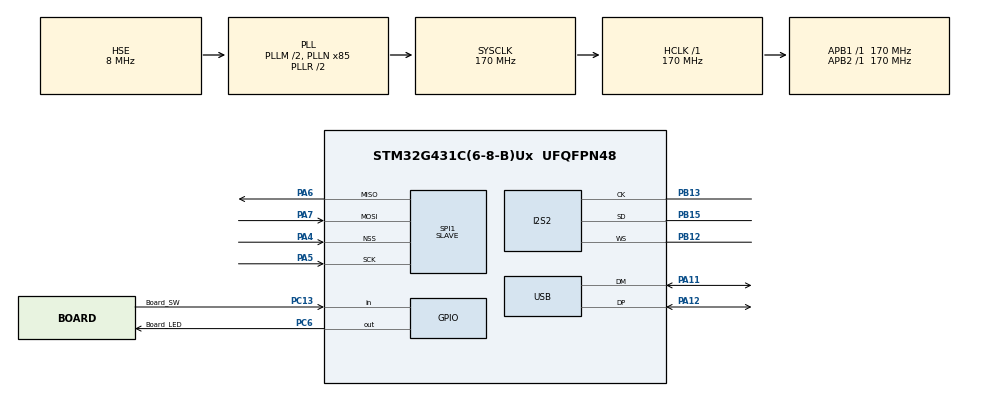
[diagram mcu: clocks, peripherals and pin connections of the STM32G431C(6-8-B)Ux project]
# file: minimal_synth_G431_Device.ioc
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Dma.Request0=SPI2_TX
Dma.Request1=SPI1_RX
Dma.SPI1_RX.1.Direction=DMA_PERIPH_TO_MEMORY
Dma.SPI1_RX.1.EventEnable=DISABLE
Dma.SPI1_RX.1.Instance=DMA1_Channel2
Dma.SPI1_RX.1.MemDataAlignment=DMA_MDATAALIGN_BYTE
Dma.SPI1_RX.1.MemInc=DMA_MINC_ENABLE
Dma.SPI1_RX.1.Mode=DMA_NORMAL
Dma.SPI1_RX.1.PeriphDataAlignment=DMA_PDATAALIGN_BYTE
Dma.SPI1_RX.1.PeriphInc=DMA_PINC_DISABLE
Dma.SPI1_RX.1.Polarity=HAL_DMAMUX_REQ_GEN_RISING
Dma.SPI1_RX.1.Priority=DMA_PRIORITY_HIGH
Dma.SPI1_RX.1.RequestNumber=1
Dma.SPI1_RX.1.SignalID=NONE
Dma.SPI1_RX.1.SyncEnable=DISABLE
Dma.SPI1_RX.1.SyncPolarity=HAL_DMAMUX_SYNC_NO_EVENT
Dma.SPI1_RX.1.SyncRequestNumber=1
Dma.SPI1_RX.1.SyncSignalID=NONE
Dma.SPI2_TX.0.Direction=DMA_MEMORY_TO_PERIPH
Dma.SPI2_TX.0.EventEnable=DISABLE
Dma.SPI2_TX.0.Instance=DMA1_Channel1
Dma.SPI2_TX.0.MemDataAlignment=DMA_MDATAALIGN_HALFWORD
Dma.SPI2_TX.0.MemInc=DMA_MINC_ENABLE
Dma.SPI2_TX.0.Mode=DMA_CIRCULAR
Dma.SPI2_TX.0.PeriphDataAlignment=DMA_PDATAALIGN_HALFWORD
Dma.SPI2_TX.0.PeriphInc=DMA_PINC_DISABLE
Dma.SPI2_TX.0.Polarity=HAL_DMAMUX_REQ_GEN_RISING
Dma.SPI2_TX.0.Priority=DMA_PRIORITY_LOW
Dma.SPI2_TX.0.RequestNumber=1
Dma.SPI2_TX.0.SignalID=NONE
Dma.SPI2_TX.0.SyncEnable=DISABLE
Dma.SPI2_TX.0.SyncPolarity=HAL_DMAMUX_SYNC_NO_EVENT
Dma.SPI2_TX.0.SyncRequestNumber=1
Dma.SPI2_TX.0.SyncSignalID=NONE
I2S2.AudioFreq=I2S_AUDIOFREQ_32K
I2S2.ErrorAudioFreq=0.0 %
I2S2.FullDuplexMode=I2S_FULLDUPLEXMODE_DISABLE
I2S2.Instance=SPI$Index
I2S2.RealAudioFreq=32.003 KHz
I2S2.Standard=I2S_STANDARD_MSB
I2S2.VirtualMode=I2S_MODE_MASTER
Mcu.Family=STM32G4
Mcu.Name=STM32G431C(6-8-B)Ux
Mcu.Package=UFQFPN48
NVIC.DMA1_Channel1_IRQn=true\:2\:0\:true\:false\:true\:false\:true\:true
NVIC.DMA1_Channel2_IRQn=true\:1\:0\:true\:false\:true\:false\:true\:true
NVIC.PriorityGroup=NVIC_PRIORITYGROUP_4
NVIC.USB_LP_IRQn=true\:2\:0\:true\:false\:true\:false\:true\:true
PA11.Mode=Device
PA11.Signal=USB_DM
PA12.Mode=Device
PA12.Signal=USB_DP
PA4.Mode=NSS_Signal_Hard_Input
PA4.Signal=SPI1_NSS
PA5.Mode=Full_Duplex_Slave
PA5.Signal=SPI1_SCK
PA6.Mode=Full_Duplex_Slave
PA6.Signal=SPI1_MISO
PA7.Mode=Full_Duplex_Slave
PA7.Signal=SPI1_MOSI
PB12.Mode=Half_Duplex_Master
PB12.Signal=I2S2_WS
PB13.Mode=Half_Duplex_Master
PB13.Signal=I2S2_CK
PB15.Mode=Half_Duplex_Master
PB15.Signal=I2S2_SD
PC13.GPIO_Label=Board_SW
PC13.GPIO_PuPd=GPIO_PULLDOWN
PC13.Signal=GPIO_Input
PC6.GPIO_Label=Board_LED
PC6.Signal=GPIO_Output
PF0-OSC_IN.Mode=HSE-External-Oscillator
PF0-OSC_IN.Signal=RCC_OSC_IN
PF1-OSC_OUT.Mode=HSE-External-Oscillator
PF1-OSC_OUT.Signal=RCC_OSC_OUT
ProjectManager.HeapSize=0x200
ProjectManager.StackSize=0x400
ProjectManager.TargetToolchain=STM32CubeIDE
RCC.ADC12Freq_Value=170000000
RCC.AHBFreq_Value=170000000
RCC.APB1Freq_Value=170000000
RCC.APB1TimFreq_Value=170000000
RCC.APB2Freq_Value=170000000
RCC.APB2TimFreq_Value=170000000
RCC.CK48CLockSelection=RCC_USBCLKSOURCE_HSI48
RCC.CortexFreq_Value=170000000
RCC.EXTERNAL_CLOCK_VALUE=12288000
RCC.HCLKFreq_Value=170000000
RCC.HSE_VALUE=8000000
RCC.HSI48_VALUE=48000000
RCC.HSI_VALUE=16000000
RCC.LSE_VALUE=32768
RCC.PLLM=RCC_PLLM_DIV2
RCC.PLLN=85
RCC.PLLSourceVirtual=RCC_PLLSOURCE_HSE
RCC.PREFETCH_ENABLE=1
RCC.SYSCLKFreq_VALUE=170000000
RCC.SYSCLKSource=RCC_SYSCLKSOURCE_PLLCLK
RCC.USBFreq_Value=48000000
RCC.VCOOutputFreq_Value=340000000
SPI1.DataSize=SPI_DATASIZE_8BIT
SPI1.Direction=SPI_DIRECTION_2LINES
SPI1.Mode=SPI_MODE_SLAVE
SPI1.VirtualNSS=VM_NSSHARD
SPI1.VirtualType=VM_SLAVE
USB_DEVICE.CLASS_NAME_FS=AUDIO
USB_DEVICE.PRODUCT_STRING_AUDIO_FS=STM32MIDIDevice
USB_DEVICE.VirtualMode=Audio
USB_DEVICE.VirtualModeFS=Audio_FS
VP_CORDIC_VS_CORDIC.Mode=CORDIC_Activate
VP_RNG_VS_RNG.Mode=RNG_Activate
VP_SYS_VS_DBSignals.Mode=DisableDeadBatterySignals
VP_USB_DEVICE_VS_USB_DEVICE_AUDIO_FS.Mode=AUDIO_FS
board=custom

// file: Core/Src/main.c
/* USER CODE BEGIN Header */
/**
 ******************************************************************************
 * @file           : main.c
 * @brief          : Main program body
 ******************************************************************************
 * @attention
 *
 * Copyright (c) 2024 STMicroelectronics.
 * All rights reserved.
 *
 * This software is licensed under terms that can be found in the LICENSE file
 * in the root directory of this software component.
 * If no LICENSE file comes with this software, it is provided AS-IS.
 *
 ******************************************************************************
 */
/* USER CODE END Header */
#include "main.h"
#include "usb_device.h"

/* USER CODE BEGIN Includes */

#include <stm32_synth.h>
#include <usbd_midi_if.h>
/* USER CODE END Includes */

CORDIC_HandleTypeDef hcordic;

I2S_HandleTypeDef hi2s2;
DMA_HandleTypeDef hdma_spi2_tx;

RNG_HandleTypeDef hrng;

SPI_HandleTypeDef hspi1;
DMA_HandleTypeDef hdma_spi1_rx;

/* USER CODE BEGIN PV */

uint8_t spi_controler_rx[4];
/* USER CODE END PV */

void SystemClock_Config(void);
static void MX_GPIO_Init(void);
static void MX_DMA_Init(void);
static void MX_I2S2_Init(void);
static void MX_SPI1_Init(void);
static void MX_RNG_Init(void);
static void MX_CORDIC_Init(void);

/* USER CODE BEGIN 0 */

// HAL interrupt
void HAL_I2S_TxCpltCallback(I2S_HandleTypeDef *hi2s)
// void HAL_DAC_ConvCpltCallbackCh1(DAC_HandleTypeDef *hdac)
{
  // HAL_GPIO_WritePin(Board_LED_GPIO_Port, Board_LED_Pin, GPIO_PIN_RESET);
  stm32synth_dacDmaCmplt_hundle();
  // HAL_GPIO_WritePin(Board_LED_GPIO_Port, Board_LED_Pin, GPIO_PIN_SET);
}
void HAL_I2S_TxHalfCpltCallback(I2S_HandleTypeDef *hi2s)
// void HAL_DAC_ConvHalfCpltCallbackCh1(DAC_HandleTypeDef *hdac)
{
  // HAL_GPIO_WritePin(Board_LED_GPIO_Port, Board_LED_Pin, GPIO_PIN_RESET);
  stm32synth_dacDmaHalfCmplt_hundle();
  // HAL_GPIO_WritePin(Board_LED_GPIO_Port, Board_LED_Pin, GPIO_PIN_SET);
}

void HAL_SPI_RxCpltCallback(SPI_HandleTypeDef *hspi)
{
  if (hspi == &hspi1)
  {
    spi_controler_rx[0] += 0x10; // increment cable number
    stm32synth_midi_writebuff(spi_controler_rx);
    HAL_SPI_Receive_DMA(&hspi1, spi_controler_rx, 4);
  }
}
/* USER CODE END 0 */

int main(void)
{

  /* MCU Configuration--------------------------------------------------------*/

  /* Reset of all peripherals, Initializes the Flash interface and the Systick. */
  HAL_Init();

  /* Configure the system clock */
  SystemClock_Config();

  /* Initialize all configured peripherals */
  MX_GPIO_Init();
  MX_DMA_Init();
  MX_USB_Device_Init();
  MX_I2S2_Init();
  MX_SPI1_Init();
  MX_RNG_Init();
  MX_CORDIC_Init();

  /* Infinite loop */
  /* USER CODE BEGIN WHILE */

  // Opening delay
  HAL_Delay(100);

  // init Synth
  uint16_t audio_dac[STM32SYNTH_NUM_I2SBUFF] = {0};

  stm32synth_init(
      audio_dac
#ifdef STM32SYNTH_SIN_CORDIC
      ,
      &hcordic
#endif /* STM32SYNTH_SIN_CORDIC*/
  );

  // init channel program
  for (uint8_t c = 0; c < 16; c++)
  {
    if (c != 9)
    {
      stm32synth_program(c, 0);
    }
  }

  // Start Peripherals
  HAL_SPI_Receive_DMA(&hspi1, spi_controler_rx, 4);                // MIDI input spi
  HAL_I2S_Transmit_DMA(&hi2s2, audio_dac, STM32SYNTH_NUM_I2SBUFF); // I2S transmit

  // Ready
  HAL_GPIO_WritePin(Board_LED_GPIO_Port, Board_LED_Pin, GPIO_PIN_SET);

  while (1)
  {
    /* USER CODE END WHILE */

    /* USER CODE BEGIN 3 */
    // processMidiMessage();
    stm32synth_midi_buff2input();
  }
  /* USER CODE END 3 */
}

void SystemClock_Config(void)
{
  RCC_OscInitTypeDef RCC_OscInitStruct = {0};
  RCC_ClkInitTypeDef RCC_ClkInitStruct = {0};

  /** Configure the main internal regulator output voltage
   */
  HAL_PWREx_ControlVoltageScaling(PWR_REGULATOR_VOLTAGE_SCALE1_BOOST);

  /** Initializes the RCC Oscillators according to the specified parameters
   * in the RCC_OscInitTypeDef structure.
   */
  RCC_OscInitStruct.OscillatorType = RCC_OSCILLATORTYPE_HSI48 | RCC_OSCILLATORTYPE_HSE;
  RCC_OscInitStruct.HSEState = RCC_HSE_ON;
  RCC_OscInitStruct.HSI48State = RCC_HSI48_ON;
  RCC_OscInitStruct.PLL.PLLState = RCC_PLL_ON;
  RCC_OscInitStruct.PLL.PLLSource = RCC_PLLSOURCE_HSE;
  RCC_OscInitStruct.PLL.PLLM = RCC_PLLM_DIV2;
  RCC_OscInitStruct.PLL.PLLN = 85;
  RCC_OscInitStruct.PLL.PLLP = RCC_PLLP_DIV2;
  RCC_OscInitStruct.PLL.PLLQ = RCC_PLLQ_DIV2;
  RCC_OscInitStruct.PLL.PLLR = RCC_PLLR_DIV2;
  if (HAL_RCC_OscConfig(&RCC_OscInitStruct) != HAL_OK)
  {
    Error_Handler();
  }

  /** Initializes the CPU, AHB and APB buses clocks
   */
  RCC_ClkInitStruct.ClockType = RCC_CLOCKTYPE_HCLK | RCC_CLOCKTYPE_SYSCLK | RCC_CLOCKTYPE_PCLK1 | RCC_CLOCKTYPE_PCLK2;
  RCC_ClkInitStruct.SYSCLKSource = RCC_SYSCLKSOURCE_PLLCLK;
  RCC_ClkInitStruct.AHBCLKDivider = RCC_SYSCLK_DIV1;
  RCC_ClkInitStruct.APB1CLKDivider = RCC_HCLK_DIV1;
  RCC_ClkInitStruct.APB2CLKDivider = RCC_HCLK_DIV1;

  if (HAL_RCC_ClockConfig(&RCC_ClkInitStruct, FLASH_LATENCY_4) != HAL_OK)
  {
    Error_Handler();
  }
}

static void MX_CORDIC_Init(void)
{

  hcordic.Instance = CORDIC;
  if (HAL_CORDIC_Init(&hcordic) != HAL_OK)
  {
    Error_Handler();
  }
}

static void MX_I2S2_Init(void)
{

  hi2s2.Instance = SPI2;
  hi2s2.Init.Mode = I2S_MODE_MASTER_TX;
  hi2s2.Init.Standard = I2S_STANDARD_MSB;
  hi2s2.Init.DataFormat = I2S_DATAFORMAT_16B;
  hi2s2.Init.MCLKOutput = I2S_MCLKOUTPUT_DISABLE;
  hi2s2.Init.AudioFreq = I2S_AUDIOFREQ_32K;
  hi2s2.Init.CPOL = I2S_CPOL_LOW;
  if (HAL_I2S_Init(&hi2s2) != HAL_OK)
  {
    Error_Handler();
  }
}

static void MX_RNG_Init(void)
{

  hrng.Instance = RNG;
  hrng.Init.ClockErrorDetection = RNG_CED_ENABLE;
  if (HAL_RNG_Init(&hrng) != HAL_OK)
  {
    Error_Handler();
  }
}

static void MX_SPI1_Init(void)
{

  /* SPI1 parameter configuration*/
  hspi1.Instance = SPI1;
  hspi1.Init.Mode = SPI_MODE_SLAVE;
  hspi1.Init.Direction = SPI_DIRECTION_2LINES;
  hspi1.Init.DataSize = SPI_DATASIZE_8BIT;
  hspi1.Init.CLKPolarity = SPI_POLARITY_LOW;
  hspi1.Init.CLKPhase = SPI_PHASE_1EDGE;
  hspi1.Init.NSS = SPI_NSS_HARD_INPUT;
  hspi1.Init.FirstBit = SPI_FIRSTBIT_MSB;
  hspi1.Init.TIMode = SPI_TIMODE_DISABLE;
  hspi1.Init.CRCCalculation = SPI_CRCCALCULATION_DISABLE;
  hspi1.Init.CRCPolynomial = 7;
  hspi1.Init.CRCLength = SPI_CRC_LENGTH_DATASIZE;
  hspi1.Init.NSSPMode = SPI_NSS_PULSE_DISABLE;
  if (HAL_SPI_Init(&hspi1) != HAL_OK)
  {
    Error_Handler();
  }
}

static void MX_DMA_Init(void)
{

  /* DMA controller clock enable */
  __HAL_RCC_DMAMUX1_CLK_ENABLE();
  __HAL_RCC_DMA1_CLK_ENABLE();

  /* DMA interrupt init */
  /* DMA1_Channel1_IRQn interrupt configuration */
  HAL_NVIC_SetPriority(DMA1_Channel1_IRQn, 2, 0);
  HAL_NVIC_EnableIRQ(DMA1_Channel1_IRQn);
  /* DMA1_Channel2_IRQn interrupt configuration */
  HAL_NVIC_SetPriority(DMA1_Channel2_IRQn, 1, 0);
  HAL_NVIC_EnableIRQ(DMA1_Channel2_IRQn);
}

static void MX_GPIO_Init(void)
{
  GPIO_InitTypeDef GPIO_InitStruct = {0};

  /* GPIO Ports Clock Enable */
  __HAL_RCC_GPIOC_CLK_ENABLE();
  __HAL_RCC_GPIOF_CLK_ENABLE();
  __HAL_RCC_GPIOA_CLK_ENABLE();
  __HAL_RCC_GPIOB_CLK_ENABLE();

  /*Configure GPIO pin Output Level */
  HAL_GPIO_WritePin(Board_LED_GPIO_Port, Board_LED_Pin, GPIO_PIN_RESET);

  /*Configure GPIO pin : Board_SW_Pin */
  GPIO_InitStruct.Pin = Board_SW_Pin;
  GPIO_InitStruct.Mode = GPIO_MODE_INPUT;
  GPIO_InitStruct.Pull = GPIO_PULLDOWN;
  HAL_GPIO_Init(Board_SW_GPIO_Port, &GPIO_InitStruct);

  /*Configure GPIO pin : Board_LED_Pin */
  GPIO_InitStruct.Pin = Board_LED_Pin;
  GPIO_InitStruct.Mode = GPIO_MODE_OUTPUT_PP;
  GPIO_InitStruct.Pull = GPIO_NOPULL;
  GPIO_InitStruct.Speed = GPIO_SPEED_FREQ_LOW;
  HAL_GPIO_Init(Board_LED_GPIO_Port, &GPIO_InitStruct);

}

void Error_Handler(void)
{
  __disable_irq();
  while (1)
  {
  }
}
